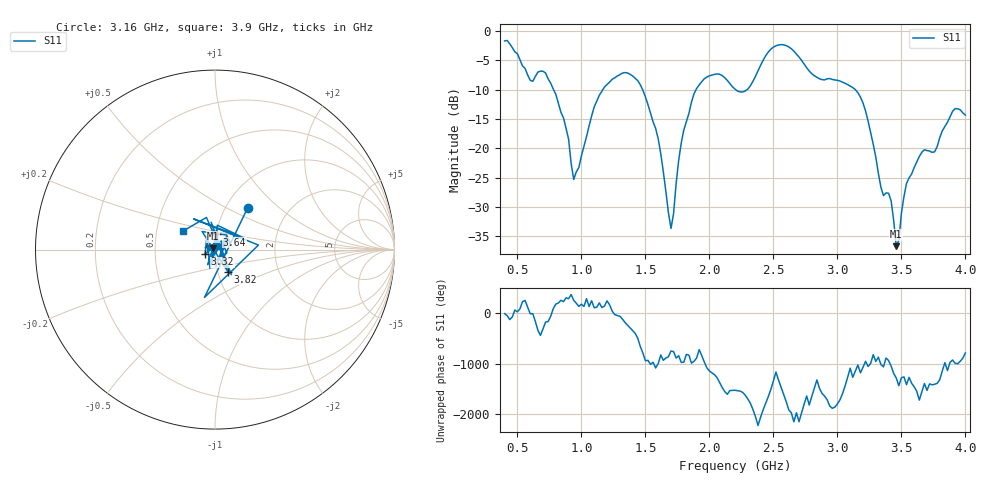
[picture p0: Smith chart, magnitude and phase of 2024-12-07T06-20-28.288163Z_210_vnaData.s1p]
!Created with skrf (http://scikit-rf.org).
# Hz S RI R 50.0
!freq ReS11 ImS11
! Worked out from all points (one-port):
!   181 points, 400 MHz to 4 GHz, reference 50 ohm
!   lowest |S11| = -36.7 dB at 3.46 GHz (marker M1), VSWR 1.03, Z = 48.7 + j0.618 ohm
!   |S11| at or under -10 dB: 782.1 MHz to 1.168 GHz (385.4 MHz wide, 39.5 % of centre); 1.478 GHz to 1.896 GHz (418 MHz wide, 24.8 % of centre); 3.14 GHz to end of sweep (the widest 3 of 4)
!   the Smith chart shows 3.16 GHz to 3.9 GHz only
!   S11 on the Smith chart (normalised r, x): 3.16 GHz: 1.26, +0.65; 3.32 GHz: 0.89, -0.05; 3.64 GHz: 1.01, +0.17; 3.82 GHz: 1.12, -0.28; 3.9 GHz: 0.68, +0.15
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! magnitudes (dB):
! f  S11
! 400 MHz  -1.7
! 600 MHz  -8.4
! 720 MHz  -7.2
! 860 MHz  -14.8
! 940 MHz  -25.3
! 1.1 GHz  -13.0
! 1.3 GHz  -7.5
! 1.5 GHz  -11.2
! 1.6 GHz  -18.4
! 1.7 GHz  -33.6
! 1.76 GHz  -22.0
! 1.92 GHz  -9.2
! 2.06 GHz  -7.3
! 2.2 GHz  -9.9
! 2.3 GHz  -9.9
! 2.5 GHz  -2.8
! 2.66 GHz  -3.5
! 3.1 GHz  -9.4
! 3.16 GHz  -10.5
! 3.32 GHz  -24.3
! 3.42 GHz  -29.0
! 3.46 GHz  -36.7
! 3.56 GHz  -25.0
! 3.64 GHz  -21.4
! 3.76 GHz  -20.6
! 3.82 GHz  -17.0
! 3.9 GHz  -13.7
! 4 GHz  -14.3
